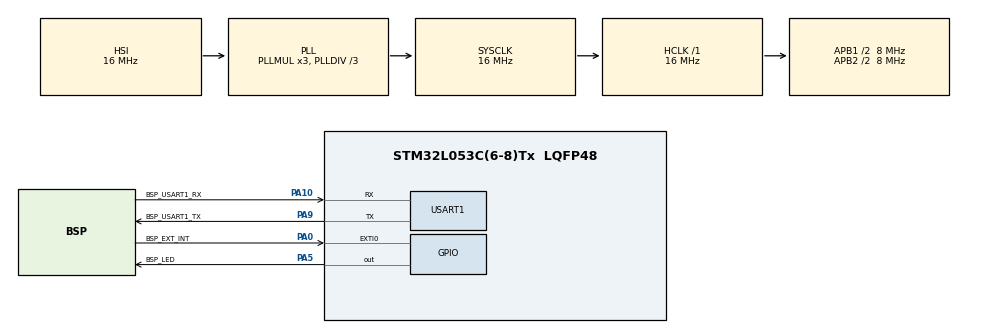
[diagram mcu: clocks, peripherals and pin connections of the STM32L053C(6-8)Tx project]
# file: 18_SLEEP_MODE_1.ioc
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Mcu.Family=STM32L0
Mcu.Name=STM32L053C(6-8)Tx
Mcu.Package=LQFP48
NVIC.EXTI0_1_IRQn=true\:0\:0\:false\:false\:true\:true\:true\:true
NVIC.USART1_IRQn=true\:0\:0\:false\:false\:true\:true\:true\:true
PA0.GPIO_Label=BSP_EXT_INT
PA0.GPIO_ModeDefaultEXTI=GPIO_MODE_IT_FALLING
PA0.Signal=GPXTI0
PA10.GPIO_Label=BSP_USART1_RX
PA10.Mode=Asynchronous
PA10.Signal=USART1_RX
PA13.Mode=Serial_Wire
PA13.Signal=SYS_SWDIO
PA14.Mode=Serial_Wire
PA14.Signal=SYS_SWCLK
PA5.GPIO_Label=BSP_LED
PA5.Signal=GPIO_Output
PA9.GPIO_Label=BSP_USART1_TX
PA9.Mode=Asynchronous
PA9.Signal=USART1_TX
ProjectManager.HeapSize=0x200
ProjectManager.StackSize=0x400
ProjectManager.TargetToolchain=STM32CubeIDE
RCC.AHBFreq_Value=16000000
RCC.APB1CLKDivider=RCC_HCLK_DIV2
RCC.APB1Freq_Value=8000000
RCC.APB1TimFreq_Value=16000000
RCC.APB2CLKDivider=RCC_HCLK_DIV2
RCC.APB2Freq_Value=8000000
RCC.APB2TimFreq_Value=16000000
RCC.HCLKFreq_Value=16000000
RCC.HSE_VALUE=8000000
RCC.HSI16_VALUE=16000000
RCC.HSI48MClockSelection=RCC_USBCLKSOURCE_HSI48
RCC.HSI48_VALUE=48000000
RCC.HSI_VALUE=16000000
RCC.LSE_VALUE=32768
RCC.MSI_VALUE=2097000
RCC.PLLDIV=RCC_PLLDIV_3
RCC.RTCClockSelectionVirtual=RCC_RTCCLKSOURCE_LSE
RCC.SYSCLKFreq_VALUE=16000000
RCC.SYSCLKSource=RCC_SYSCLKSOURCE_PLLCLK
RCC.VCOOutputFreq_Value=48000000
USART1.VirtualMode-Asynchronous=VM_ASYNC
board=STM32L0538-DISCO

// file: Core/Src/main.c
/* USER CODE BEGIN Header */
/**
 ******************************************************************************
 * @file           : main.c
 * @brief          : Main program body
 ******************************************************************************
 * @attention
 *
 * Copyright (c) 2024 STMicroelectronics.
 * All rights reserved.
 *
 * This software is licensed under terms that can be found in the LICENSE file
 * in the root directory of this software component.
 * If no LICENSE file comes with this software, it is provided AS-IS.
 *
 ******************************************************************************
 */
/* USER CODE END Header */
#include "main.h"

/* USER CODE BEGIN Includes */
#include<string.h>
/* USER CODE END Includes */

UART_HandleTypeDef huart1;

/* USER CODE BEGIN PV */
//volatile uint32_t button_pressed = 0;
char *str = { 0 };
uint8_t Rx_data;
/* USER CODE END PV */

void SystemClock_Config(void);
static void MX_GPIO_Init(void);
static void MX_USART1_UART_Init(void);

int main(void)
{

  /* MCU Configuration--------------------------------------------------------*/

  /* Reset of all peripherals, Initializes the Flash interface and the Systick. */
 HAL_Init();

  /* Configure the system clock */
  SystemClock_Config();

  /* Initialize all configured peripherals */
  MX_GPIO_Init();
  MX_USART1_UART_Init();
  /* USER CODE BEGIN 2 */

	HAL_UART_Receive_IT(&huart1, &Rx_data, 1);

	/* for create an interrupt we have to set the SEVONPEND (Send EVent On PENDing)*/
//	HAL_PWR_EnableSEVOnPend();
//
//	str = "test of low power application on stm32\r\n";
//	HAL_UART_Transmit(&huart1, (uint8_t*) str, strlen(str), 1000);

  /* USER CODE END 2 */

  /* Infinite loop */
	while (1) {

    /* USER CODE BEGIN 3 */

//		str = "Going into SLEEP MODE\r\n";
//		HAL_UART_Transmit(&huart1, (uint8_t*) str, strlen(str), 1000);

		str = "Going into SLEEP MODE in 5 seconds\r\n";
		HAL_UART_Transmit(&huart1, (uint8_t*) str, strlen(str), 1000);

		HAL_GPIO_WritePin(GPIOA, GPIO_PIN_5, 0);
		HAL_Delay(5000);

		/*    Suspend Tick increment to prevent wakeup by Systick interrupt.
		 Otherwise the Systick interrupt will wake up the device within 1ms (HAL time base)
		 */

		HAL_SuspendTick();

		HAL_GPIO_WritePin(GPIOA, GPIO_PIN_5, 1); // Just to indicate that the sleep mode is activated

		HAL_PWR_EnableSleepOnExit();	// it will execute the interrupt callback and go to sleep mode again

		/*	  Enter Sleep Mode , wake up is done once User push-button is pressed 		*/

		HAL_PWR_EnterSLEEPMode(PWR_MAINREGULATOR_ON, PWR_SLEEPENTRY_WFI);
		HAL_ResumeTick();

		/* __HAL_GPIO_EXTI_CLEAR_IT(GPIO_PIN_0) and HAL_NVIC_ClearPendingIRQ
		 (EXTI0_1_IRQn) have to be placed just before the HAL_PWR_EnterSLEEPMode.
		 Otherwise, if the MCU goes to sleep with one of these two flags already ON,
		 it will not wake up. */
//
//		__HAL_GPIO_EXTI_CLEAR_IT(GPIO_PIN_0);// Clear the peripheral IT flag
//		HAL_NVIC_ClearPendingIRQ(EXTI0_1_IRQn);	// Clear the NVIC IT pending flag
//		HAL_PWR_EnterSLEEPMode(PWR_MAINREGULATOR_ON, PWR_SLEEPENTRY_WFE);
//
//		//	  Resume Tick interrupt if disabled prior to sleep mode entry
//		HAL_ResumeTick();

//		str = "Wake UP by Push button pending IT\r\n";
//		HAL_UART_Transmit(&huart1, (uint8_t*) str, strlen(str), HAL_MAX_DELAY);

		str = "Wake UP from SLEEP\r\n";
		HAL_UART_Transmit(&huart1, (uint8_t*) str, strlen(str), HAL_MAX_DELAY);

		for (int i = 0; i < 10; i++) {
			HAL_GPIO_TogglePin(GPIOA, GPIO_PIN_5);
			HAL_Delay(200);
		}
	}
  /* USER CODE END 3 */
}

void SystemClock_Config(void)
{
  RCC_OscInitTypeDef RCC_OscInitStruct = {0};
  RCC_ClkInitTypeDef RCC_ClkInitStruct = {0};
  RCC_PeriphCLKInitTypeDef PeriphClkInit = {0};

  /** Configure the main internal regulator output voltage
  */
  __HAL_PWR_VOLTAGESCALING_CONFIG(PWR_REGULATOR_VOLTAGE_SCALE1);

  /** Initializes the RCC Oscillators according to the specified parameters
  * in the RCC_OscInitTypeDef structure.
  */
  RCC_OscInitStruct.OscillatorType = RCC_OSCILLATORTYPE_HSI;
  RCC_OscInitStruct.HSIState = RCC_HSI_ON;
  RCC_OscInitStruct.HSICalibrationValue = RCC_HSICALIBRATION_DEFAULT;
  RCC_OscInitStruct.PLL.PLLState = RCC_PLL_ON;
  RCC_OscInitStruct.PLL.PLLSource = RCC_PLLSOURCE_HSI;
  RCC_OscInitStruct.PLL.PLLMUL = RCC_PLLMUL_3;
  RCC_OscInitStruct.PLL.PLLDIV = RCC_PLLDIV_3;
  if (HAL_RCC_OscConfig(&RCC_OscInitStruct) != HAL_OK)
  {
    Error_Handler();
  }

  /** Initializes the CPU, AHB and APB buses clocks
  */
  RCC_ClkInitStruct.ClockType = RCC_CLOCKTYPE_HCLK|RCC_CLOCKTYPE_SYSCLK
                              |RCC_CLOCKTYPE_PCLK1|RCC_CLOCKTYPE_PCLK2;
  RCC_ClkInitStruct.SYSCLKSource = RCC_SYSCLKSOURCE_PLLCLK;
  RCC_ClkInitStruct.AHBCLKDivider = RCC_SYSCLK_DIV1;
  RCC_ClkInitStruct.APB1CLKDivider = RCC_HCLK_DIV2;
  RCC_ClkInitStruct.APB2CLKDivider = RCC_HCLK_DIV2;

  if (HAL_RCC_ClockConfig(&RCC_ClkInitStruct, FLASH_LATENCY_0) != HAL_OK)
  {
    Error_Handler();
  }
  PeriphClkInit.PeriphClockSelection = RCC_PERIPHCLK_USART1;
  PeriphClkInit.Usart1ClockSelection = RCC_USART1CLKSOURCE_PCLK2;
  if (HAL_RCCEx_PeriphCLKConfig(&PeriphClkInit) != HAL_OK)
  {
    Error_Handler();
  }
}

static void MX_USART1_UART_Init(void)
{

  huart1.Instance = USART1;
  huart1.Init.BaudRate = 115200;
  huart1.Init.WordLength = UART_WORDLENGTH_8B;
  huart1.Init.StopBits = UART_STOPBITS_1;
  huart1.Init.Parity = UART_PARITY_NONE;
  huart1.Init.Mode = UART_MODE_TX_RX;
  huart1.Init.HwFlowCtl = UART_HWCONTROL_NONE;
  huart1.Init.OverSampling = UART_OVERSAMPLING_16;
  huart1.Init.OneBitSampling = UART_ONE_BIT_SAMPLE_DISABLE;
  huart1.AdvancedInit.AdvFeatureInit = UART_ADVFEATURE_NO_INIT;
  if (HAL_UART_Init(&huart1) != HAL_OK)
  {
    Error_Handler();
  }

}

static void MX_GPIO_Init(void)
{
  GPIO_InitTypeDef GPIO_InitStruct = {0};

  /* GPIO Ports Clock Enable */
  __HAL_RCC_GPIOA_CLK_ENABLE();

  /*Configure GPIO pin Output Level */
  HAL_GPIO_WritePin(BSP_LED_GPIO_Port, BSP_LED_Pin, GPIO_PIN_RESET);

  /*Configure GPIO pin : BSP_EXT_INT_Pin */
  GPIO_InitStruct.Pin = BSP_EXT_INT_Pin;
  GPIO_InitStruct.Mode = GPIO_MODE_IT_FALLING;
  GPIO_InitStruct.Pull = GPIO_NOPULL;
  HAL_GPIO_Init(BSP_EXT_INT_GPIO_Port, &GPIO_InitStruct);

  /*Configure GPIO pin : BSP_LED_Pin */
  GPIO_InitStruct.Pin = BSP_LED_Pin;
  GPIO_InitStruct.Mode = GPIO_MODE_OUTPUT_PP;
  GPIO_InitStruct.Pull = GPIO_NOPULL;
  GPIO_InitStruct.Speed = GPIO_SPEED_FREQ_LOW;
  HAL_GPIO_Init(BSP_LED_GPIO_Port, &GPIO_InitStruct);

  /* EXTI interrupt init*/
  HAL_NVIC_SetPriority(EXTI0_1_IRQn, 0, 0);
  HAL_NVIC_EnableIRQ(EXTI0_1_IRQn);

}

/* USER CODE BEGIN 4 */
void HAL_GPIO_EXTI_Callback(uint16_t GPIO_Pin) {
	if (GPIO_Pin == BSP_EXT_INT_Pin) {
		str = "woke up by external interrupt\r\n";
		HAL_UART_Transmit(&huart1, (uint8_t*) str, strlen(str), HAL_MAX_DELAY);
	}
}

void HAL_UART_RxCpltCallback(UART_HandleTypeDef *huart) {
	HAL_UART_Receive_IT(&huart1, &Rx_data, 1);
	str = "WakeUP from SLEEP by UART\r\n";
	HAL_UART_Transmit(&huart1, (uint8_t*) str, strlen(str), HAL_MAX_DELAY);
}
/* USER CODE END 4 */

void Error_Handler(void)
{
	__disable_irq();
	while (1) {
	}
}
